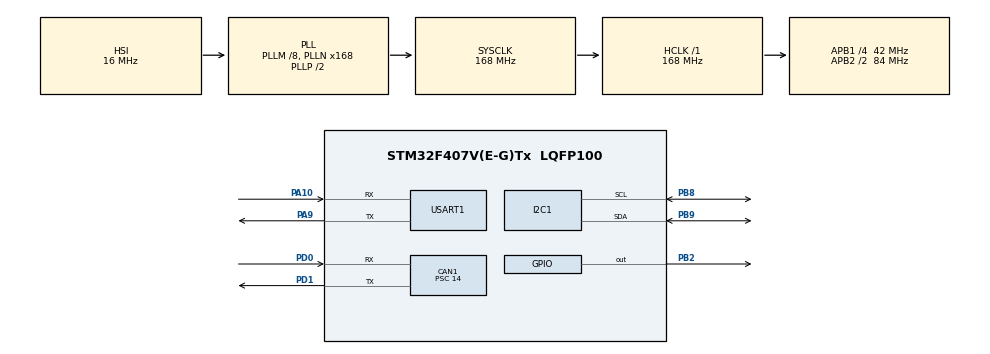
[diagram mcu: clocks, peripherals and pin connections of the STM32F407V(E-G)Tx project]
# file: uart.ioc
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CAN1.ABOM=ENABLE
CAN1.BS1=CAN_BS1_4TQ
CAN1.CalculateBaudRate=499999
CAN1.CalculateTimeBit=2000
CAN1.CalculateTimeQuantum=333.33333333333337
CAN1.Prescaler=14
Dma.I2C1_TX.0.Direction=DMA_MEMORY_TO_PERIPH
Dma.I2C1_TX.0.FIFOMode=DMA_FIFOMODE_DISABLE
Dma.I2C1_TX.0.Instance=DMA1_Stream7
Dma.I2C1_TX.0.MemDataAlignment=DMA_MDATAALIGN_BYTE
Dma.I2C1_TX.0.MemInc=DMA_MINC_ENABLE
Dma.I2C1_TX.0.Mode=DMA_NORMAL
Dma.I2C1_TX.0.PeriphDataAlignment=DMA_PDATAALIGN_BYTE
Dma.I2C1_TX.0.PeriphInc=DMA_PINC_DISABLE
Dma.I2C1_TX.0.Priority=DMA_PRIORITY_LOW
Dma.Request0=I2C1_TX
Dma.Request1=USART1_RX
Dma.USART1_RX.1.Direction=DMA_PERIPH_TO_MEMORY
Dma.USART1_RX.1.FIFOMode=DMA_FIFOMODE_DISABLE
Dma.USART1_RX.1.Instance=DMA2_Stream2
Dma.USART1_RX.1.MemDataAlignment=DMA_MDATAALIGN_BYTE
Dma.USART1_RX.1.MemInc=DMA_MINC_ENABLE
Dma.USART1_RX.1.Mode=DMA_NORMAL
Dma.USART1_RX.1.PeriphDataAlignment=DMA_PDATAALIGN_BYTE
Dma.USART1_RX.1.PeriphInc=DMA_PINC_DISABLE
Dma.USART1_RX.1.Priority=DMA_PRIORITY_LOW
Mcu.Family=STM32F4
Mcu.Name=STM32F407V(E-G)Tx
Mcu.Package=LQFP100
NVIC.CAN1_RX0_IRQn=true\:0\:0\:false\:false\:true\:true\:true\:true
NVIC.DMA1_Stream7_IRQn=true\:0\:0\:false\:false\:true\:false\:true\:true
NVIC.DMA2_Stream2_IRQn=true\:0\:0\:false\:false\:true\:false\:true\:true
NVIC.PriorityGroup=NVIC_PRIORITYGROUP_4
PA10.Mode=Asynchronous
PA10.Signal=USART1_RX
PA13.Mode=Serial_Wire
PA13.Signal=SYS_JTMS-SWDIO
PA14.Mode=Serial_Wire
PA14.Signal=SYS_JTCK-SWCLK
PA9.Mode=Asynchronous
PA9.Signal=USART1_TX
PB2.Signal=GPIO_Output
PB8.Mode=I2C
PB8.Signal=I2C1_SCL
PB9.Mode=I2C
PB9.Signal=I2C1_SDA
PC14-OSC32_IN.Mode=LSE-External-Oscillator
PC14-OSC32_IN.Signal=RCC_OSC32_IN
PC15-OSC32_OUT.Mode=LSE-External-Oscillator
PC15-OSC32_OUT.Signal=RCC_OSC32_OUT
PD0.Mode=CAN_Activate
PD0.Signal=CAN1_RX
PD1.Mode=CAN_Activate
PD1.Signal=CAN1_TX
PH0-OSC_IN.Mode=HSE-External-Oscillator
PH0-OSC_IN.Signal=RCC_OSC_IN
PH1-OSC_OUT.Mode=HSE-External-Oscillator
PH1-OSC_OUT.Signal=RCC_OSC_OUT
ProjectManager.HeapSize=0x200
ProjectManager.StackSize=0x400
ProjectManager.TargetToolchain=CMake
RCC.48MHZClocksFreq_Value=84000000
RCC.AHBFreq_Value=168000000
RCC.APB1CLKDivider=RCC_HCLK_DIV4
RCC.APB1Freq_Value=42000000
RCC.APB1TimFreq_Value=84000000
RCC.APB2CLKDivider=RCC_HCLK_DIV2
RCC.APB2Freq_Value=84000000
RCC.APB2TimFreq_Value=168000000
RCC.CortexFreq_Value=168000000
RCC.HCLKFreq_Value=168000000
RCC.HSE_VALUE=25000000
RCC.HSI_VALUE=16000000
RCC.PLLM=8
RCC.PLLN=168
RCC.SYSCLKFreq_VALUE=168000000
RCC.SYSCLKSource=RCC_SYSCLKSOURCE_PLLCLK
RCC.VCOOutputFreq_Value=336000000
USART1.VirtualMode=VM_ASYNC
board=custom

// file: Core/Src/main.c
/* USER CODE BEGIN Header */
/**
 ******************************************************************************
 * @file           : main.c
 * @brief          : Main program body
 ******************************************************************************
 * @attention
 *
 * Copyright (c) 2026 STMicroelectronics.
 * All rights reserved.
 *
 * This software is licensed under terms that can be found in the LICENSE file
 * in the root directory of this software component.
 * If no LICENSE file comes with this software, it is provided AS-IS.
 *
 ******************************************************************************
 */
/* USER CODE END Header */
#include "main.h"
#include "can.h"
#include "dma.h"
#include "i2c.h"
#include "stm32f4xx_hal.h"
#include "usart.h"
#include "gpio.h"

/* USER CODE BEGIN Includes */
#include "Chassis.h"
#include "Emm_V5.h"
#include "bsp_can.h"
#include "bsp_iic.h"
#include "bsp_uart.h"
#include "oled.h"
#include <stdbool.h>
#include <stdio.h>
#include <string.h>

/* USER CODE END Includes */

/* USER CODE BEGIN PV */
UART_Instance *uart1;   // 串口实例
OLED_Instance *oled;    // OLED 屏幕实例
CAN_Instance *can_inst; // CAN 实例(Emm_V5 模块要用)
static uint8_t chassis_test_state = 0;
static uint32_t chassis_test_start_tick = 0;

/* USER CODE END PV */

void SystemClock_Config(void);

/* USER CODE BEGIN 0 */

/* OLED 屏幕的注册 */
void UART_RxHandler(UART_Instance *uart, uint16_t size) {
  UART_Transmit(uart, uart->rx_buffer, size); // 把收到的发回去
}

void OLED_Setup(void) {
  HAL_Delay(200); // 等 SSD1306 完成内部上电复位(无 RES 脚,靠延时保上电时序)
  IIC_Init_Config_s iic_conf = {
      .handle = &hi2c1, // 用 I2C1
      .dev_addr = 0x3C, // OLED 7位地址,bsp内部左移成0x78
      .callback = NULL,
      .id = NULL,
  };
  OLED_Init_Config_s oled_conf = {.iic_conf = iic_conf};
  oled = OLED_Register(&oled_conf); // 注册(内部会注册 IIC 实例)
  OLED_Init(oled);                  // 初始化屏幕
  OLED_Clear(oled);                 // 清屏
  OLED_Refresh(oled);               // 刷到屏幕
}
/* 串口的注册 */
void UART_Setup(void) {
  UART_Init_Config_s uart_conf = {
      .handle = &huart1,             // 用 USART1
      .rx_callback = UART_RxHandler, // 接收回调函数
      .id = NULL,
  };
  uart1 = UART_Register(&uart_conf); // 注册(内部会注册 DMA 实例)
  UART_Receive(uart1);               // 启动接收
}
/*CAN的注册*/
void CAN_Setup(void) {
  CAN_Init_Config_s can_conf = {
      .handle = &hcan1,
      .filter.FilterBank = 0,
      .filter.FilterMode = CAN_FILTERMODE_IDMASK,
      .filter.FilterScale = CAN_FILTERSCALE_32BIT,
      .filter.FilterIdHigh = 0x0000,
      .filter.FilterIdLow = 0x0000,
      .filter.FilterMaskIdHigh = 0x0000,
      .filter.FilterMaskIdLow = 0x0000,
      .filter.FilterFIFOAssignment = CAN_FILTER_FIFO0,
      .filter.FilterActivation = ENABLE,
      /* 0~13号滤波器归CAN1，14~27号滤波器归CAN2。 */
      .filter.SlaveStartFilterBank = 14,
      .rx_callback = Emm_V5_RxCallback,
      .id = NULL,
  };
  CAN_Instance *can_instance =
      CAN_Register(&can_conf); // 注册(内部会注册 CAN 实例)
  CAN_Start(can_instance);     // 启动 CAN 接收中断
  can_inst = can_instance;     // 存到全局,Emm_V5 模块要用
}

/* 悬空低速测试：前进约 1 秒后停止，只发送每条命令一次。 */
static void Chassis_Test_Update(void)
{
  if (chassis_test_state == 0)
  {
    Chassis_Set_Velocity(100.0f, 0.0f, 0.0f, 10, true);
    chassis_test_start_tick = HAL_GetTick();
    chassis_test_state = 1;
  }
  else if (chassis_test_state == 1 &&
           (HAL_GetTick() - chassis_test_start_tick) >= 100)
  {
    Chassis_Set_Velocity(0.0f, 0.0f, 0.0f, 10, true);
    chassis_test_state = 2;
  }
}

/* USER CODE END 0 */

int main(void)
{

  /* MCU Configuration--------------------------------------------------------*/

  /* Reset of all peripherals, Initializes the Flash interface and the Systick. */
  HAL_Init();

  /* Configure the system clock */
  SystemClock_Config();

  /* Initialize all configured peripherals */
  MX_GPIO_Init();
  MX_DMA_Init();
  MX_I2C1_Init();
  MX_CAN1_Init();
  MX_USART1_UART_Init();
  /* USER CODE BEGIN 2 */
  // OLED_Setup(); // OLED 注册
  UART_Setup();          // UART 注册(标定期用串口输出位置)
  CAN_Setup();           // CAN 注册

  HAL_Delay(1000);
  Emm_V5_Init(can_inst); // 把 CAN 实例交给电机模块

  Chassis_Init();

  /* USER CODE END 2 */

  /* Infinite loop */
  while (1) {
    Chassis_Update();
    Chassis_Test_Update();
  }
}

void SystemClock_Config(void)
{
  RCC_OscInitTypeDef RCC_OscInitStruct = {0};
  RCC_ClkInitTypeDef RCC_ClkInitStruct = {0};

  /** Configure the main internal regulator output voltage
  */
  __HAL_RCC_PWR_CLK_ENABLE();
  __HAL_PWR_VOLTAGESCALING_CONFIG(PWR_REGULATOR_VOLTAGE_SCALE1);

  /** Initializes the RCC Oscillators according to the specified parameters
  * in the RCC_OscInitTypeDef structure.
  */
  RCC_OscInitStruct.OscillatorType = RCC_OSCILLATORTYPE_HSI;
  RCC_OscInitStruct.HSIState = RCC_HSI_ON;
  RCC_OscInitStruct.HSICalibrationValue = RCC_HSICALIBRATION_DEFAULT;
  RCC_OscInitStruct.PLL.PLLState = RCC_PLL_ON;
  RCC_OscInitStruct.PLL.PLLSource = RCC_PLLSOURCE_HSI;
  RCC_OscInitStruct.PLL.PLLM = 8;
  RCC_OscInitStruct.PLL.PLLN = 168;
  RCC_OscInitStruct.PLL.PLLP = RCC_PLLP_DIV2;
  RCC_OscInitStruct.PLL.PLLQ = 4;
  if (HAL_RCC_OscConfig(&RCC_OscInitStruct) != HAL_OK)
  {
    Error_Handler();
  }

  /** Initializes the CPU, AHB and APB buses clocks
  */
  RCC_ClkInitStruct.ClockType = RCC_CLOCKTYPE_HCLK|RCC_CLOCKTYPE_SYSCLK
                              |RCC_CLOCKTYPE_PCLK1|RCC_CLOCKTYPE_PCLK2;
  RCC_ClkInitStruct.SYSCLKSource = RCC_SYSCLKSOURCE_PLLCLK;
  RCC_ClkInitStruct.AHBCLKDivider = RCC_SYSCLK_DIV1;
  RCC_ClkInitStruct.APB1CLKDivider = RCC_HCLK_DIV4;
  RCC_ClkInitStruct.APB2CLKDivider = RCC_HCLK_DIV2;

  if (HAL_RCC_ClockConfig(&RCC_ClkInitStruct, FLASH_LATENCY_5) != HAL_OK)
  {
    Error_Handler();
  }
}

void Error_Handler(void)
{
  __disable_irq();
  while (1) {
  }
}
#ifdef USE_FULL_ASSERT
/**
  * @brief  Reports the name of the source file and the source line number
  *         where the assert_param error has occurred.
  * @param  file: pointer to the source file name
  * @param  line: assert_param error line source number
  * @retval None
  */
void assert_failed(uint8_t *file, uint32_t line)
{
  /* USER CODE BEGIN 6 */
  /* User can add his own implementation to report the file name and line
     number, ex: printf("Wrong parameters value: file %s on line %d\r\n", file,
     line) */
  /* USER CODE END 6 */
}
#endif /* USE_FULL_ASSERT */
